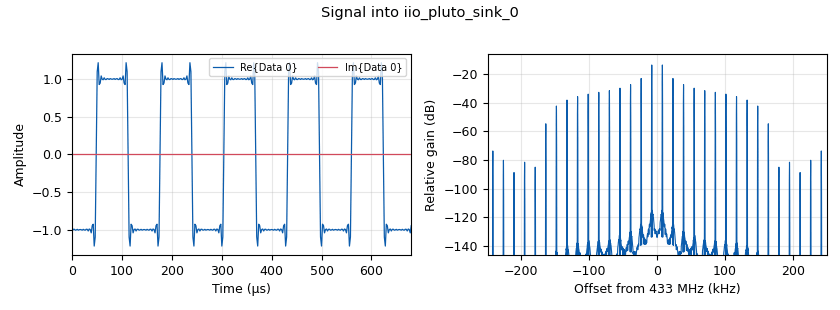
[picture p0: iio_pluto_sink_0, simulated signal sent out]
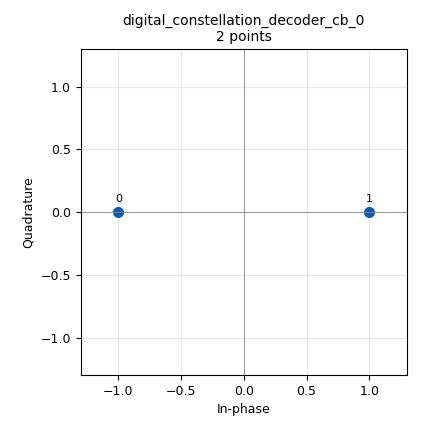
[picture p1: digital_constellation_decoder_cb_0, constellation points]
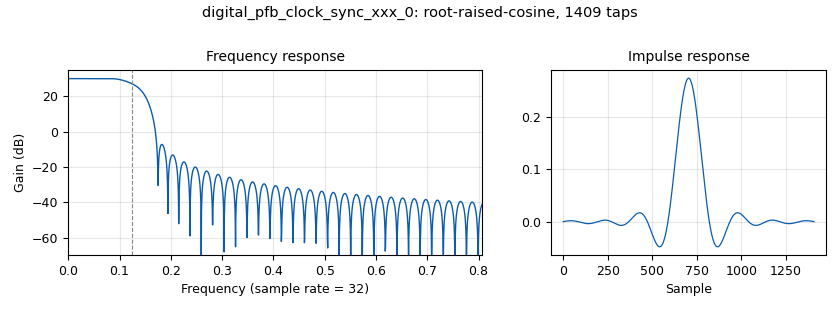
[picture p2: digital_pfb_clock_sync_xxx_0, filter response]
options:
  parameters:
    category: Custom
    generate_options: qt_gui
    id: mpsk_stage6
    output_language: python
    title: mpsk_stage6.grc
  states: {}

blocks:
- name: arity
  id: variable
  parameters:
    value: '2'
  states: {}
- name: bpsk
  id: variable_constellation_rect
  parameters:
    const_points: '[-1+0j, 1+0j]'
    imag_sect: '2'
    real_sect: '2'
    rot_sym: '4'
    sym_map: '[0, 1]'
    w_imag_sect: '1'
    w_real_sect: '1'
  states: {}
- name: excess_bw
  id: variable
  parameters:
    value: '0.35'
  states: {}
- name: freq_offset
  id: variable_qtgui_range
  parameters:
    gui_hint: 'controls@0: 0,1,1,1'
    label: Frequency Offset
    start: '-0.1'
    step: '0.001'
    stop: '0.1'
    value: '0'
  states: {}
- name: nfilts
  id: variable
  parameters:
    value: '32'
  states: {}
- name: noise_volt
  id: variable_qtgui_range
  parameters:
    gui_hint: 'controls@0: 0,0,1,1'
    label: Noise Voltage
    start: '0'
    step: '0.01'
    stop: '1'
    value: '0.0001'
  states: {}
- name: phase_bw
  id: variable_qtgui_range
  parameters:
    gui_hint: 'controls@1: 0,2,1,1'
    label: 'Phase: Bandwidth'
    start: '0.0'
    step: '0.01'
    stop: '1.0'
    value: 6.28/100.0
    widget: slider
  states: {}
- name: qpsk
  id: variable_constellation_rect
  parameters:
    const_points: '[0.707+0.707j, -0.707+0.707j, -0.707-0.707j, 0.707-0.707j]'
    imag_sect: '2'
    real_sect: '2'
    rot_sym: '4'
    sym_map: '[0, 1, 2, 3]'
    w_imag_sect: '1'
    w_real_sect: '1'
  states: {}
- name: rrc_taps
  id: variable
  parameters:
    value: firdes.root_raised_cosine(nfilts, nfilts, 1.0/float(sps), 0.35, 11*sps*nfilts)
  states: {}
- name: samp_rate
  id: variable
  parameters:
    value: 5e5
  states: {}
- name: sps
  id: variable
  parameters:
    value: '4'
  states: {}
- name: taps
  id: variable
  parameters:
    value: '[1.0, 0.25-0.25j, 0.50 + 0.10j, -0.3 + 0.2j]'
  states: {}
- name: timing_loop_bw
  id: variable_qtgui_range
  parameters:
    gui_hint: 'controls@1: 0,0,1,1'
    label: 'Time: BW'
    start: '0.0'
    step: '0.01'
    stop: '0.2'
    value: 6.28/100.0
    widget: slider
  states: {}
- name: variable_adaptive_algorithm_0
  id: variable_adaptive_algorithm
  parameters:
    cons: bpsk
    modulus: '4'
    step_size: '.0001'
    type: cma
  states: {}
- name: blocks_repack_bits_bb_0
  id: blocks_repack_bits_bb
  parameters:
    endianness: gr.GR_MSB_FIRST
    k: '8'
    l: '1'
  states: {}
- name: blocks_unpack_k_bits_bb_0
  id: blocks_unpack_k_bits_bb
  parameters:
    k: '1'
  states: {}
- name: controls
  id: qtgui_tab_widget
  parameters:
    gui_hint: 0,0,1,2
    label0: Channel
    label1: Receiver
    num_tabs: '2'
  states: {}
- name: digital_constellation_decoder_cb_0
  id: digital_constellation_decoder_cb
  parameters:
    constellation: bpsk
  states: {}
- name: digital_constellation_modulator_0
  id: digital_constellation_modulator
  parameters:
    constellation: bpsk
    differential: 'True'
    excess_bw: '0.35'
    samples_per_symbol: '2'
  states: {}
- name: digital_costas_loop_cc_0
  id: digital_costas_loop_cc
  parameters:
    order: arity
    w: phase_bw
  states: {}
- name: digital_diff_decoder_bb_0
  id: digital_diff_decoder_bb
  parameters:
    coding: digital.DIFF_DIFFERENTIAL
    modulus: '2'
  states: {}
- name: digital_linear_equalizer_0
  id: digital_linear_equalizer
  parameters:
    alg: variable_adaptive_algorithm_0
    num_taps: '15'
    sps: '2'
  states: {}
- name: digital_map_bb_0
  id: digital_map_bb
  parameters:
    map: '[0,1]'
  states: {}
- name: digital_pfb_clock_sync_xxx_0
  id: digital_pfb_clock_sync_xxx
  parameters:
    filter_size: nfilts
    init_phase: nfilts/2
    loop_bw: timing_loop_bw
    max_dev: '1.5'
    osps: '2'
    sps: sps
    taps: rrc_taps
    type: ccf
  states: {}
- name: epy_block_0
  id: epy_block
  parameters:
    _source_code: |-
      import sys
      import struct
      import zlib
      import datetime
      import numpy as np
      from gnuradio import gr

      class blk(gr.sync_block):
          """
          Packet Receiver & Decoder Sink:
          Detects CCSDS sync marker (0x1ACFFC1D), verifies CRC32,
          and logs both VALID packets and CRC ERRORS to console and disk.
          """
          def __init__(self, filename="rx_output.txt", max_payload_len=512):
              gr.sync_block.__init__(
                  self,
                  name='Packet RX Decoder',
                  in_sig=[np.uint8],
                  out_sig=None
              )
              self.filename = filename
              self.max_payload_len = int(max_payload_len)
              
              # Standard CCSDS 32-bit Attached Sync Marker (ASM): 0x1ACFFC1D
              self.sync_word = bytes([0x1A, 0xCF, 0xFC, 0x1D])
              self.buffer = bytearray()
              
              # Performance counters
              self.total_frames = 0
              self.valid_count = 0
              self.error_count = 0
              
              self.log_file = open(self.filename, "a", buffering=1, encoding="utf-8")

          def work(self, input_items, output_items):
              in0 = input_items[0]
              if len(in0) == 0:
                  return 0

              self.buffer.extend(in0.tobytes())

              while True:
                  # 1. Search for sync word
                  sync_idx = self.buffer.find(self.sync_word)
                  if sync_idx == -1:
                      # Keep last 3 bytes in case marker spans across work() buffer chunks
                      if len(self.buffer) > 3:
                          del self.buffer[:-3]
                      break

                  # Discard preceding noise/preamble
                  del self.buffer[:sync_idx]

                  # 2. Wait until Sync (4B) + Length Header (2B) have arrived
                  if len(self.buffer) < 6:
                      break

                  payload_len = struct.unpack('>H', self.buffer[4:6])[0]

                  # 3. Guard against corrupted length fields
                  # If bit errors hit length header and report an impossible size,
                  # drop sync marker and continue scanning rather than hanging.
                  if payload_len > self.max_payload_len:
                      del self.buffer[:4]
                      continue

                  total_pkt_len = 4 + 2 + payload_len + 4  # Sync + Len + Payload + CRC32

                  # 4. Wait for full frame arrival
                  if len(self.buffer) < total_pkt_len:
                      break

                  # 5. Extract fields and compute CRC
                  self.total_frames += 1
                  payload = self.buffer[6:6 + payload_len]
                  rx_crc = struct.unpack('>I', self.buffer[6 + payload_len:total_pkt_len])[0]
                  calc_crc = zlib.crc32(payload) & 0xFFFFFFFF
                  
                  timestamp = datetime.datetime.now().strftime("%Y-%m-%d %H:%M:%S.%f")[:-3]

                  if rx_crc == calc_crc:
                      self.valid_count += 1
                      text = payload.decode('utf-8', errors='replace')
                      log_entry = (
                          f"[{timestamp}] Frame #{self.total_frames} [VALID] | "
                          f"Len: {payload_len}B | CRC: 0x{rx_crc:08X} | "
                          f"Data: {text}\n"
                      )
                  else:
                      self.error_count += 1
                      # Format first 16 bytes as hex for quick RF inspection
                      hex_preview = ' '.join(f'{b:02X}' for b in payload[:16])
                      if len(payload) > 16:
                          hex_preview += ' ...'
                      corrupted_text = payload.decode('latin1', errors='replace')
                      
                      log_entry = (
                          f"[{timestamp}] Frame #{self.total_frames} [CRC ERROR] | "
                          f"Len: {payload_len}B | Expected CRC: 0x{calc_crc:08X} | "
                          f"Got CRC: 0x{rx_crc:08X} | "
                          f"Raw: [{hex_preview}] | "
                          f"Corrupted Text: {repr(corrupted_text)}\n"
                      )

                  # Output to terminal
                  sys.stdout.write(log_entry)
                  sys.stdout.flush()

                  # Output to file
                  self.log_file.write(log_entry)
                  self.log_file.flush()

                  # Advance buffer past this packet
                  del self.buffer[:total_pkt_len]

              return len(in0)

          def stop(self):
              if self.log_file and not self.log_file.closed:
                  per = (self.error_count / self.total_frames * 100.0) if self.total_frames > 0 else 0.0
                  summary = (
                      f"\n--- Demodulation Session Summary ---\n"
                      f"Total Frames Detected: {self.total_frames}\n"
                      f"Valid Packets:        {self.valid_count}\n"
                      f"CRC Failures:         {self.error_count}\n"
                      f"Packet Error Rate:    {per:.2f}%\n"
                      f"------------------------------------\n"
                  )
                  sys.stdout.write(summary)
                  sys.stdout.flush()
                  self.log_file.write(summary)
                  self.log_file.close()
              return True
    filename: '"output.txt"'
    max_payload_len: '4096'
  states: {}
- name: epy_block_1
  id: epy_block
  parameters:
    _source_code: |-
      import time
      import struct
      import zlib
      import numpy as np
      from gnuradio import gr

      class blk(gr.sync_block):
          """
          Packet Transmitter Source Block:
          Constructs [Preamble + CCSDS Sync + Length + Payload + CRC32] frames.
          Sends `repeat_count` packets back-to-back, pauses for `time_interval` seconds,
          and repeats indefinitely.
          """
          def __init__(self, 
                       message="Hello QPSK World!", 
                       preamble_size=32, 
                       repeat_count=5, 
                       time_interval=2.0):
              gr.sync_block.__init__(
                  self,
                  name='Packet TX Source',
                  in_sig=None,
                  out_sig=[np.uint8]
              )
              self.message = str(message)
              self.preamble_size = max(0, int(preamble_size))
              self.repeat_count = max(1, int(repeat_count))
              self.time_interval = max(0.0, float(time_interval))

              # Standard CCSDS 32-bit Attached Sync Marker (ASM): 0x1ACFFC1D
              self.sync_word = bytes([0x1A, 0xCF, 0xFC, 0x1D])
              
              self.running = True
              self.burst_count = 0
              self.buffer = bytearray()
              self.packet = self._build_packet()

          def _build_packet(self):
              payload = self.message.encode('utf-8')
              # Alternating 10101010 bit pattern (0xAA) for symbol clock recovery
              preamble = bytes([0xAA] * self.preamble_size)
              length_header = struct.pack('>H', len(payload))
              crc = struct.pack('>I', zlib.crc32(payload) & 0xFFFFFFFF)
              return preamble + self.sync_word + length_header + payload + crc

          def _sleep_interruptible(self, seconds):
              """Sleeps in small slices to allow GRC to stop immediately without hanging."""
              start = time.time()
              while (time.time() - start) < seconds and self.running:
                  time.sleep(0.02)

          def work(self, input_items, output_items):
              out = output_items[0]
              n_req = len(out)

              # When the burst buffer is completely drained
              if len(self.buffer) == 0:
                  if not self.running:
                      return -1

                  # Pause between bursts after the first burst has been sent
                  if self.burst_count > 0 and self.time_interval > 0:
                      self._sleep_interruptible(self.time_interval)
                      if not self.running:
                          return -1

                  # Queue repeat_count packets back-to-back
                  for _ in range(self.repeat_count):
                      self.buffer.extend(self.packet)
                  self.burst_count += 1

              n_to_send = min(n_req, len(self.buffer))
              out[:n_to_send] = np.frombuffer(self.buffer[:n_to_send], dtype=np.uint8)
              del self.buffer[:n_to_send]

              return n_to_send

          def stop(self):
              self.running = False
              return True

          # GRC runtime parameter callbacks
          def set_message(self, message):
              self.message = str(message)
              self.packet = self._build_packet()

          def set_preamble_size(self, preamble_size):
              self.preamble_size = max(0, int(preamble_size))
              self.packet = self._build_packet()

          def set_repeat_count(self, repeat_count):
              self.repeat_count = max(1, int(repeat_count))

          def set_time_interval(self, time_interval):
              self.time_interval = max(0.0, float(time_interval))
    message: '"Hello"'
    preamble_size: '500'
    repeat_count: '20'
    time_interval: '0.001'
  states: {}
- name: iio_pluto_sink_0
  id: iio_pluto_sink
  parameters:
    attenuation1: '20'
    bandwidth: '20000000'
    buffer_size: '32768'
    cyclic: 'False'
    filter_source: '''Auto'''
    frequency: int(433e6)
    samplerate: int(samp_rate)
    type: fc32
    uri: '"192.168.1.10"'
  states: {}
- name: iio_pluto_source_0
  id: iio_pluto_source
  parameters:
    bandwidth: '2000000'
    bbdc: 'True'
    buffer_size: '4096'
    filter_source: '''Auto'''
    frequency: int(433e6)
    gain1: '''slow_attack'''
    len_tag_key: ''
    manual_gain1: '30'
    quadrature: 'True'
    rfdc: 'True'
    samplerate: int(samp_rate)
    type: fc32
    uri: '"192.168.1.10"'
  states: {}
- name: note_0
  id: note
  parameters:
    comment: |-
      The CMA equalizer has been
      replaced by a Linear Equalizer
      and an Adaptive Algorithm for
      version 3.9
    note: CMA equalizer replaced
  states: {}
- name: qtgui_const_sink_x_0
  id: qtgui_const_sink_x
  parameters:
    gui_hint: 'received@0: 0,0,1,1'
    size: '1024'
    type: complex
  states: {}
- name: received
  id: qtgui_tab_widget
  parameters:
    gui_hint: 2,0,1,1
    label0: Constellation
    label1: Symbols
    num_tabs: '2'
  states: {}

connections:
- [blocks_repack_bits_bb_0, '0', digital_constellation_modulator_0, '0']
- [blocks_unpack_k_bits_bb_0, '0', epy_block_0, '0']
- [digital_constellation_decoder_cb_0, '0', digital_diff_decoder_bb_0, '0']
- [digital_constellation_modulator_0, '0', iio_pluto_sink_0, '0']
- [digital_costas_loop_cc_0, '0', digital_constellation_decoder_cb_0, '0']
- [digital_costas_loop_cc_0, '0', qtgui_const_sink_x_0, '0']
- [digital_diff_decoder_bb_0, '0', digital_map_bb_0, '0']
- [digital_linear_equalizer_0, '0', digital_costas_loop_cc_0, '0']
- [digital_map_bb_0, '0', blocks_unpack_k_bits_bb_0, '0']
- [digital_pfb_clock_sync_xxx_0, '0', digital_linear_equalizer_0, '0']
- [epy_block_1, '0', blocks_repack_bits_bb_0, '0']
- [iio_pluto_source_0, '0', digital_pfb_clock_sync_xxx_0, '0']

metadata:
  file_format: 1
  grc_version: 3.10.12.0
